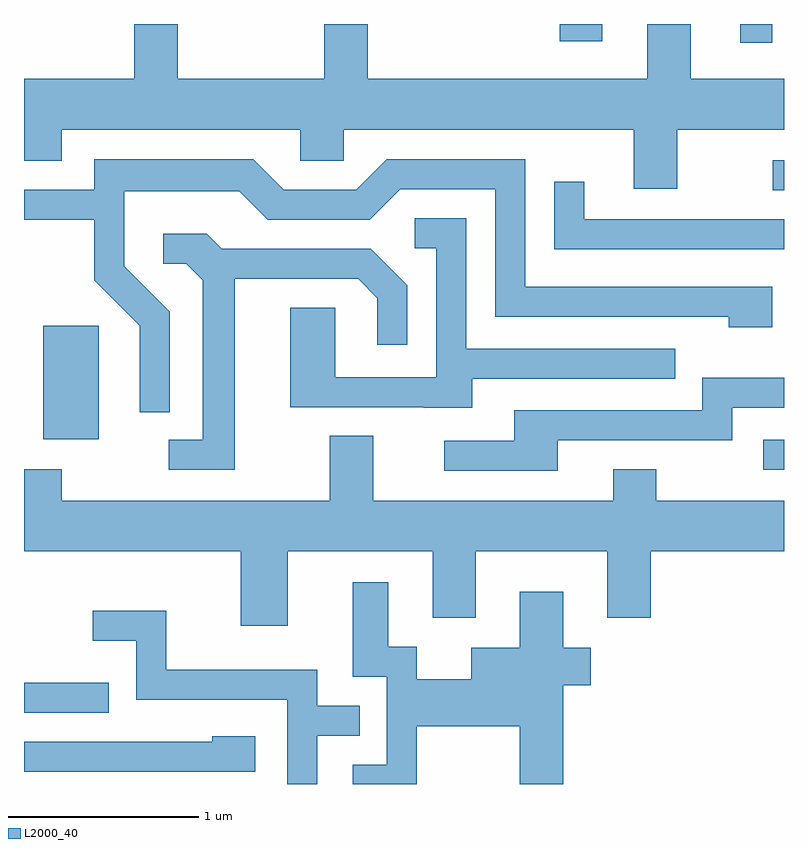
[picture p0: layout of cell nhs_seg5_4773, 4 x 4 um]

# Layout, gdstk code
import gdstk
lib = gdstk.Library(unit=1e-6, precision=1e-09)
def R(c, l, rs):  # rectangles x0, y0, x1, y1
    for r in rs: c.add(gdstk.rectangle(r[:2], r[2:], *l))
def P(c, l, *ps):  # polygons
    for p in ps: c.add(gdstk.Polygon(p, *l))
L2000_40 = (2000, 40)

nhs_seg5_4773 = lib.new_cell('nhs_seg5_4773')
R(nhs_seg5_4773, L2000_40, [(327.611,1400.446,328.058,1400.604), (331.503,1401.726,331.611,1401.884), (327.711,1401.886,328.004,1402.484), (331.553,1403.196,331.611,1403.354), (331.381,1403.973,331.549,1404.072), (330.431,1403.981,330.654,1404.072)])
P(nhs_seg5_4773, L2000_40, [(328.419,1404.072),(328.191,1404.072),(328.191,1403.784),(327.611,1403.784),(327.611,1403.351),(327.809,1403.351),(327.809,1403.516),(329.066,1403.516),(329.066,1403.351),(329.294,1403.351),(329.294,1403.516),(330.821,1403.516),(330.821,1403.206),(331.049,1403.206),(331.049,1403.516),(331.611,1403.516),(331.611,1403.784),(331.119,1403.784),(331.119,1404.072),(330.891,1404.072),(330.891,1403.784),(329.419,1403.784),(329.419,1404.072),(329.191,1404.072),(329.191,1403.784),(328.419,1403.784)],
  [(328.379,1402.557),(328.139,1402.797),(328.139,1403.191),(328.744,1403.191),(328.894,1403.041),(329.432,1403.041),(329.592,1403.201),(330.091,1403.201),(330.091,1402.531),(331.321,1402.531),(331.321,1402.476),(331.549,1402.476),(331.549,1402.689),(330.249,1402.689),(330.249,1403.359),(329.519,1403.359),(329.359,1403.199),(328.977,1403.199),(328.817,1403.359),(327.981,1403.359),(327.981,1403.199),(327.611,1403.199),(327.611,1403.041),(327.981,1403.041),(327.981,1402.724),(328.221,1402.484),(328.221,1402.028),(328.379,1402.028)],
  [(331.611,1403.044),(330.559,1403.044),(330.559,1403.243),(330.401,1403.243),(330.401,1402.886),(331.611,1402.886)],
  [(329.969,1402.206),(331.038,1402.206),(331.038,1402.364),(329.939,1402.364),(329.939,1403.049),(329.668,1403.049),(329.668,1402.891),(329.781,1402.891),(329.781,1402.214),(329.249,1402.214),(329.249,1402.579),(329.011,1402.579),(329.011,1402.056),(329.715,1402.056),(329.715,1402.051),(329.969,1402.051)],
  [(328.719,1402.731),(329.369,1402.731),(329.471,1402.629),(329.471,1402.383),(329.629,1402.383),(329.629,1402.697),(329.437,1402.889),(328.652,1402.889),(328.572,1402.969),(328.343,1402.969),(328.343,1402.811),(328.464,1402.811),(328.551,1402.724),(328.551,1401.884),(328.373,1401.884),(328.373,1401.726),(328.719,1401.726)],
  [(330.419,1401.881),(331.339,1401.881),(331.339,1402.051),(331.611,1402.051),(331.611,1402.209),(331.181,1402.209),(331.181,1402.039),(330.191,1402.039),(330.191,1401.879),(329.823,1401.879),(329.823,1401.721),(330.419,1401.721)],
  [(329.761,1400.946),(329.989,1400.946),(329.989,1401.296),(330.681,1401.296),(330.681,1400.946),(330.909,1400.946),(330.909,1401.296),(331.611,1401.296),(331.611,1401.564),(330.939,1401.564),(330.939,1401.729),(330.711,1401.729),(330.711,1401.564),(329.449,1401.564),(329.449,1401.904),(329.221,1401.904),(329.221,1401.564),(327.809,1401.564),(327.809,1401.729),(327.611,1401.729),(327.611,1401.296),(328.751,1401.296),(328.751,1400.906),(328.999,1400.906),(328.999,1401.296),(329.761,1401.296)],
  [(329.679,1400.376),(330.221,1400.376),(330.221,1400.072),(330.449,1400.072),(330.449,1400.591),(330.594,1400.591),(330.594,1400.789),(330.449,1400.789),(330.449,1401.084),(330.221,1401.084),(330.221,1400.789),(329.966,1400.789),(329.966,1400.624),(329.679,1400.624),(329.679,1400.794),(329.529,1400.794),(329.529,1401.134),(329.341,1401.134),(329.341,1400.636),(329.521,1400.636),(329.521,1400.174),(329.341,1400.174),(329.341,1400.072),(329.679,1400.072)],
  [(329.154,1400.326),(329.378,1400.326),(329.378,1400.484),(329.154,1400.484),(329.154,1400.674),(328.359,1400.674),(328.359,1400.984),(327.973,1400.984),(327.973,1400.826),(328.201,1400.826),(328.201,1400.516),(328.996,1400.516),(328.996,1400.072),(329.154,1400.072)],
  [(328.829,1400.324),(328.601,1400.324),(328.601,1400.294),(327.611,1400.294),(327.611,1400.136),(328.829,1400.136)])

lib.write_gds('nhs_seg5_4773.gds')
